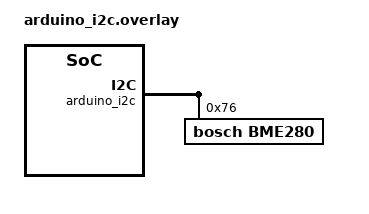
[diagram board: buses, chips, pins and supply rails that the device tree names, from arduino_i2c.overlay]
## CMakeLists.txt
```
# SPDX-License-Identifier: Apache-2.0

cmake_minimum_required(VERSION 3.20.0)
find_package(Zephyr REQUIRED HINTS $ENV{ZEPHYR_BASE})
project(peripheral_hr)

FILE(GLOB app_sources src/*.c)
target_sources(app PRIVATE
  ${app_sources}
  )

zephyr_library_include_directories(${ZEPHYR_BASE}/samples/bluetooth)
```

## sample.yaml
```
sample:
  name: Bluetooth Peripheral HR
  description: Demonstrates the HR (Heart Rate) GATT Service
tests:
  sample.bluetooth.peripheral_hr:
    harness: bluetooth
    platform_allow:
      - qemu_cortex_m3
      - qemu_x86
    integration_platforms:
      - qemu_cortex_m3
    tags: bluetooth
  sample.bluetooth.peripheral_hr_rv32m1_vega_ri5cy:
    platform_allow: rv32m1_vega_ri5cy
    tags: bluetooth
    build_only: true
  sample.bluetooth.peripheral_hr.frdm_kw41z_shield:
    harness: bluetooth
    depends_on: arduino_serial
    tags: bluetooth
    extra_args: SHIELD=frdm_kw41z
```

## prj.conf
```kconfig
CONFIG_BT=y
CONFIG_LOG=y
CONFIG_BT_SMP=y
CONFIG_BT_PERIPHERAL=y
CONFIG_SENSOR=y
CONFIG_BT_DIS=n
CONFIG_BT_DIS_PNP=n
CONFIG_BT_DEVICE_NAME="Temp & Press"
CONFIG_BT_DEVICE_APPEARANCE=0
```

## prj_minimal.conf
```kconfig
CONFIG_BT=y
CONFIG_BT_SMP=y
CONFIG_BT_PERIPHERAL=y
CONFIG_BT_DIS=y
CONFIG_BT_DIS_PNP=n
CONFIG_BT_BAS=y
CONFIG_BT_HRS=y
CONFIG_BT_DEVICE_NAME="Zephyr Heartrate Sensor"
CONFIG_BT_DEVICE_APPEARANCE=833

# Drivers and peripherals
CONFIG_I2C=n
CONFIG_WATCHDOG=n
CONFIG_PINCTRL=n
CONFIG_SPI=n
CONFIG_GPIO=n
CONFIG_SERIAL=n

# Power management
CONFIG_PM=n

# Interrupts
CONFIG_DYNAMIC_INTERRUPTS=n
CONFIG_IRQ_OFFLOAD=n

# Memory protection
CONFIG_THREAD_STACK_INFO=n
CONFIG_THREAD_CUSTOM_DATA=n
CONFIG_FPU=n

# Boot
CONFIG_BOOT_BANNER=n
CONFIG_BOOT_DELAY=0

# Console
CONFIG_CONSOLE=n
CONFIG_UART_CONSOLE=n
CONFIG_STDOUT_CONSOLE=n
CONFIG_PRINTK=n
CONFIG_EARLY_CONSOLE=n

# Build
CONFIG_SIZE_OPTIMIZATIONS=y

# ARM
CONFIG_ARM_MPU=n

# In order to correctly tune the stack sizes for the threads the following
# Configurations can enabled to print the current use:
# CONFIG_THREAD_NAME=y
# CONFIG_THREAD_ANALYZER=y
# CONFIG_THREAD_ANALYZER_AUTO=y
# CONFIG_THREAD_ANALYZER_RUN_UNLOCKED=y
# CONFIG_THREAD_ANALYZER_USE_PRINTK=y
# CONFIG_THREAD_ANALYZER_AUTO_INTERVAL=20
# CONFIG_CONSOLE=y
# CONFIG_UART_CONSOLE=y
# CONFIG_SERIAL=y
# CONFIG_PRINTK=y

# Example output of thread analyzer
# BT RX               : STACK: unused 576 usage 448 / 1024 (43 %); CPU: 0 %
# BT RX pri           : STACK: unused 260 usage 188 / 448 (41 %); CPU: 0 %
# BT ECC              : STACK: unused 256 usage 888 / 1144 (77 %); CPU: 1 %
# BT TX               : STACK: unused 296 usage 344 / 640 (53 %); CPU: 0 %
# thread_analyzer     : STACK: unused 128 usage 384 / 512 (75 %); CPU: 1 %
# sysworkq            : STACK: unused 856 usage 168 / 1024 (16 %); CPU: 0 %
# logging             : STACK: unused 232 usage 536 / 768 (69 %); CPU: 0 %
# idle 00             : STACK: unused 208 usage 48 / 256 (18 %); CPU: 97 %
# main                : STACK: unused 576 usage 448 / 1024 (43 %); CPU: 0 %
CONFIG_BT_RX_STACK_SIZE=1024
CONFIG_BT_CTLR_RX_PRIO_STACK_SIZE=448
CONFIG_BT_HCI_TX_STACK_SIZE_WITH_PROMPT=y
CONFIG_BT_HCI_TX_STACK_SIZE=640
CONFIG_SYSTEM_WORKQUEUE_STACK_SIZE=512
CONFIG_IDLE_STACK_SIZE=128
CONFIG_MAIN_STACK_SIZE=640
CONFIG_ISR_STACK_SIZE=1024

# Disable features not needed
CONFIG_TIMESLICING=n
CONFIG_COMMON_LIBC_MALLOC=n
CONFIG_LOG=n
CONFIG_ASSERT=n

# Disable Bluetooth features not needed
# CONFIG_BT_DEBUG_NONE=y
CONFIG_BT_ASSERT=n
CONFIG_BT_DATA_LEN_UPDATE=n
CONFIG_BT_PHY_UPDATE=n
CONFIG_BT_GATT_CACHING=n
CONFIG_BT_GATT_SERVICE_CHANGED=n
CONFIG_BT_GAP_PERIPHERAL_PREF_PARAMS=n
CONFIG_BT_SETTINGS_CCC_LAZY_LOADING=y
CONFIG_BT_HCI_VS_EXT=n

# Disable Bluetooth controller features not needed
CONFIG_BT_CTLR_PRIVACY=n
CONFIG_BT_CTLR_PHY_2M=n

# Reduce Bluetooth buffers
CONFIG_BT_BUF_EVT_DISCARDABLE_COUNT=1
CONFIG_BT_BUF_EVT_DISCARDABLE_SIZE=45
CONFIG_BT_BUF_ACL_RX_COUNT=2
CONFIG_BT_BUF_EVT_RX_COUNT=2

CONFIG_BT_CONN_TX_MAX=2
CONFIG_BT_L2CAP_TX_BUF_COUNT=2
CONFIG_BT_CTLR_RX_BUFFERS=1
CONFIG_BT_BUF_ACL_TX_COUNT=3
CONFIG_BT_BUF_ACL_TX_SIZE=27
```

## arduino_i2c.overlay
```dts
/*
 * Copyright (c) 2020, Nordic Semiconductor ASA
 *
 * SPDX-License-Identifier: Apache-2.0
 */

/*
 * Example configuration of a BME280 device on an Arduino I2C bus.
 *
 * Device address 0x77 is assumed. Your device may have a different
 * address; check your device documentation if unsure.
 */
&arduino_i2c {
	status = "okay";
	bme280@76 {
		compatible = "bosch,bme280";
		reg = <0x76>;
	};
};
```

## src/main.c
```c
//Authors: Mateusz Matkowski (145432) and Mikołaj Starzak (158958)

#include <zephyr/types.h>
#include <stddef.h>
#include <string.h>
#include <errno.h>
#include <zephyr/sys/printk.h>
#include <zephyr/sys/byteorder.h>
#include <zephyr/kernel.h>
#include <zephyr/device.h>
#include <zephyr/devicetree.h>
#include <zephyr/drivers/sensor.h>

#include <zephyr/bluetooth/bluetooth.h>
#include <zephyr/bluetooth/hci.h>
#include <zephyr/bluetooth/conn.h>
#include <zephyr/bluetooth/uuid.h>
#include <zephyr/bluetooth/gatt.h>

#define GATT_PERM_READ_MASK     (BT_GATT_PERM_READ | \
				 BT_GATT_PERM_READ_ENCRYPT | \
				 BT_GATT_PERM_READ_AUTHEN)
#define GATT_PERM_WRITE_MASK    (BT_GATT_PERM_WRITE | \
				 BT_GATT_PERM_WRITE_ENCRYPT | \
				 BT_GATT_PERM_WRITE_AUTHEN)

#ifndef CONFIG_BT_TEMPS_DEFAULT_PERM_RW_AUTHEN
#define CONFIG_BT_TEMPS_DEFAULT_PERM_RW_AUTHEN 0
#endif
#ifndef CONFIG_BT_TEMPS_DEFAULT_PERM_RW_ENCRYPT
#define CONFIG_BT_TEMPS_DEFAULT_PERM_RW_ENCRYPT 0
#endif

#ifndef CONFIG_BT_PRESSS_DEFAULT_PERM_RW_AUTHEN
#define CONFIG_BT_PRESSS_DEFAULT_PERM_RW_AUTHEN 0
#endif
#ifndef CONFIG_BT_PRESSS_DEFAULT_PERM_RW_ENCRYPT
#define CONFIG_BT_PRESSS_DEFAULT_PERM_RW_ENCRYPT 0
#endif

#define TEMPS_GATT_PERM_DEFAULT (						\
	CONFIG_BT_TEMPS_DEFAULT_PERM_RW_AUTHEN ?				\
	(BT_GATT_PERM_READ_AUTHEN | BT_GATT_PERM_WRITE_AUTHEN) :	\
	CONFIG_BT_TEMPS_DEFAULT_PERM_RW_ENCRYPT ?				\
	(BT_GATT_PERM_READ_ENCRYPT | BT_GATT_PERM_WRITE_ENCRYPT) :	\
	(BT_GATT_PERM_READ | BT_GATT_PERM_WRITE))			\

#define PRESSS_GATT_PERM_DEFAULT (						\
	CONFIG_BT_PRESSS_DEFAULT_PERM_RW_AUTHEN ?				\
	(BT_GATT_PERM_READ_AUTHEN | BT_GATT_PERM_WRITE_AUTHEN) :	\
	CONFIG_BT_PRESSS_DEFAULT_PERM_RW_ENCRYPT ?				\
	(BT_GATT_PERM_READ_ENCRYPT | BT_GATT_PERM_WRITE_ENCRYPT) :	\
	(BT_GATT_PERM_READ | BT_GATT_PERM_WRITE))		

static bool tempf_ntf_enabled;
static bool pressf_ntf_enabled;

//Create an advertisement for the service
static const struct bt_data ad[] = {
	BT_DATA_BYTES(BT_DATA_FLAGS, (BT_LE_AD_GENERAL | BT_LE_AD_NO_BREDR)),
	BT_DATA_BYTES(BT_DATA_UUID16_ALL, BT_UUID_16_ENCODE(BT_UUID_ESS_VAL))
};


//Manage the system for handling temperature notification changes in a Bluetooth application
static void temps_ntf_changed(bool enabled){
	tempf_ntf_enabled = enabled;
	printk("Temp notification status changed: %s\n", enabled ? "enabled" : "disabled");
}
struct bt_temp_cb {
	void (*ntf_changed)(bool enabled);
	/** Internal member to form a list of callbacks */
	sys_snode_t _node;
};
static struct bt_temp_cb temp_cb = {
	.ntf_changed = temps_ntf_changed,
};
static sys_slist_t temp_cbs = SYS_SLIST_STATIC_INIT(&temp_cbs);
static void tempmc_ccc_cfg_changed(const struct bt_gatt_attr *attr, int16_t value){
	ARG_UNUSED(attr);
	struct bt_temp_cb *listener;
	bool notif_enabled = (value == BT_GATT_CCC_NOTIFY);
	SYS_SLIST_FOR_EACH_CONTAINER(&temp_cbs, listener, _node) {
		if (listener->ntf_changed) {
			listener->ntf_changed(notif_enabled);
		}
	}
}

//Manage the system for handling notification about pressure changes in a Bluetooth application
static void presss_ntf_changed(bool enabled){
	pressf_ntf_enabled = enabled;
	printk("Press notification status changed: %s\n", enabled ? "enabled" : "disabled");
}
struct bt_press_cb {
	void (*pntf_changed)(bool enabled);
	/** Internal member to form a list of callbacks */
	sys_snode_t _node;
};
static struct bt_press_cb press_cb = {
	.pntf_changed = presss_ntf_changed,
};
static sys_slist_t press_cbs = SYS_SLIST_STATIC_INIT(&press_cbs);
static void pressmc_ccc_cfg_changed(const struct bt_gatt_attr *attr, int16_t value){
	ARG_UNUSED(attr);

	struct bt_press_cb *listener;

	bool notif_enabled = (value == BT_GATT_CCC_NOTIFY);

	SYS_SLIST_FOR_EACH_CONTAINER(&press_cbs, listener, _node) {
		if (listener->pntf_changed) {
			listener->pntf_changed(notif_enabled);
		}
	}
}


//Define Environmental Sensing Service
BT_GATT_SERVICE_DEFINE(ess_srv,
	BT_GATT_PRIMARY_SERVICE(BT_UUID_ESS),
	BT_GATT_CHARACTERISTIC(BT_UUID_TEMPERATURE, BT_GATT_CHRC_NOTIFY, NULL, NULL, NULL, NULL),
	BT_GATT_CCC(tempmc_ccc_cfg_changed, TEMPS_GATT_PERM_DEFAULT),
	BT_GATT_CHARACTERISTIC(BT_UUID_PRESSURE, BT_GATT_CHRC_NOTIFY, NULL, NULL, NULL, NULL),
	BT_GATT_CCC(pressmc_ccc_cfg_changed, PRESSS_GATT_PERM_DEFAULT),
);

static void connected(struct bt_conn *conn, uint8_t err){
	if (err) {
		printk("Connection failed (err 0x%02x)\n", err);
	} else {
		printk("Connected\n");
	}
}

static void disconnected(struct bt_conn *conn, uint8_t reason){
	printk("Disconnected (reason 0x%02x)\n", reason);
}

BT_CONN_CB_DEFINE(conn_callbacks) = {
	.connected = connected,
	.disconnected = disconnected,
};


static void bt_ready(void){
	int err;
	printk("Bluetooth initialized\n");
	//Start the service advertisement
	err = bt_le_adv_start(BT_LE_ADV_CONN_NAME, ad, ARRAY_SIZE(ad), NULL, 0);
	if (err) {
		printk("Advertising failed to start (err %d)\n", err);
		return;
	}
	printk("Advertising successfully started\n");
}

static void auth_cancel(struct bt_conn *conn){
	char addr[BT_ADDR_LE_STR_LEN];

	bt_addr_le_to_str(bt_conn_get_dst(conn), addr, sizeof(addr));

	printk("Pairing cancelled: %s\n", addr);
}

static struct bt_conn_auth_cb auth_cb_display = {
	.cancel = auth_cancel,
};


//Register temperature service callback.
int bt_temp_cb_register(struct bt_temp_cb *cb){
	if(cb == NULL) {
		return -EINVAL;
	}
	sys_slist_append(&temp_cbs, &cb->_node);
	return 0;
}
//Notify the service about the new temperature value.
int bt_temps_notify(uint16_t temperature){
	int rc = bt_gatt_notify(NULL, &ess_srv.attrs[1], &temperature, sizeof(temperature));
	return rc == -ENOTCONN ? 0 : rc;
}
static void temp_notify(struct sensor_value temp){
	double tempd = sensor_value_to_double(&temp);
	uint16_t temperature = tempd * 100;

	if (tempf_ntf_enabled) {
		bt_temps_notify(temperature);
	}
}

//Register pressure service callback.
int bt_press_cb_register(struct bt_press_cb *cb){
	if(cb == NULL) {
		return -EINVAL;
	}
	sys_slist_append(&press_cbs, &cb->_node);
	return 0;
}
//Notify the service about the new pressure value.
int bt_presss_notify(uint32_t pressure){
	int rc = bt_gatt_notify(NULL, &ess_srv.attrs[4], &pressure, sizeof(pressure));
	return rc == -ENOTCONN ? 0 : rc;
}
static void press_notify(struct sensor_value press){
	double pressured = sensor_value_to_double(&press);
	uint32_t pressure = pressured * 10000;

	if (pressf_ntf_enabled) {
		bt_presss_notify(pressure);
	}
}


//Connect BME280/BMP280 sensor to the application (BMP280 is compatible with BME280's code for temperature and pressure readings).
static const struct device *get_bme280_device(void){
	const struct device *const dev = DEVICE_DT_GET_ANY(bosch_bme280);
	if (dev == NULL) {
		/* No such node, or the node does not have status "okay". */
		printk("\nError: no device found.\n");
		return NULL;
	}
	if (!device_is_ready(dev)) {
		printk("\nError: Device \"%s\" is not ready; "
		       "check the driver initialization logs for errors.\n",
		       dev->name);
		return NULL;
	}
	printk("Found device \"%s\", getting sensor data\n", dev->name);
	return dev;
}

int main(void){
	int err;

	err = bt_enable(NULL);
	if (err) {
		printk("Bluetooth init failed (err %d)\n", err);
		return 0;
	}

	bt_ready();
	bt_conn_auth_cb_register(&auth_cb_display);

	bt_temp_cb_register(&temp_cb);
	bt_press_cb_register(&press_cb);

	const struct device *dev = get_bme280_device();
	if (dev == NULL) {
		return 0;
	}
	struct sensor_value temp, press, humidity;

	while (1) {
		//Measure the current temperature and pressure.
		sensor_sample_fetch(dev);
		sensor_channel_get(dev, SENSOR_CHAN_AMBIENT_TEMP, &temp);
		sensor_channel_get(dev, SENSOR_CHAN_PRESS, &press);
		sensor_channel_get(dev, SENSOR_CHAN_HUMIDITY, &humidity);

		printk("temp: %d.%06d; press: %d.%06d;\n",
		      temp.val1, temp.val2, press.val1, press.val2);

		//Notify the service about the temperature and pressure changes.
		temp_notify(temp);
		press_notify(press);

		k_sleep(K_SECONDS(5));
	}
	return 0;
}
```
